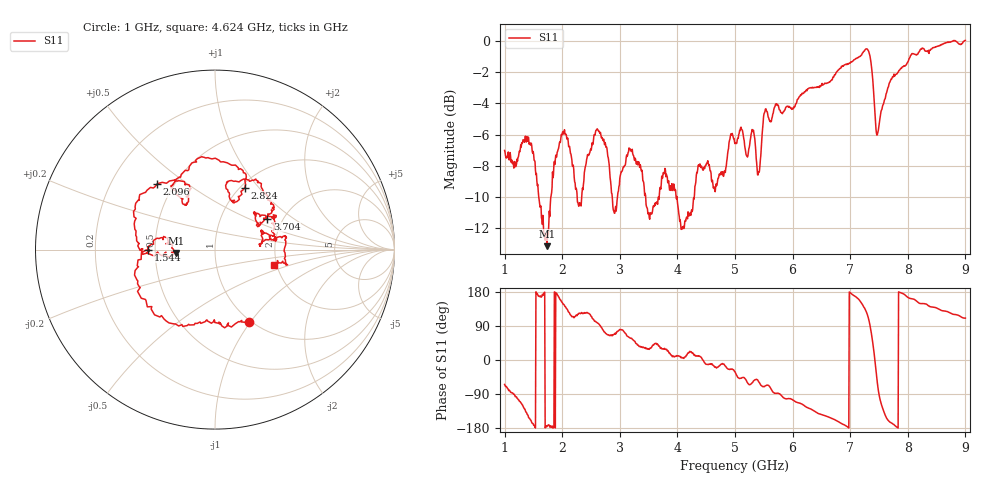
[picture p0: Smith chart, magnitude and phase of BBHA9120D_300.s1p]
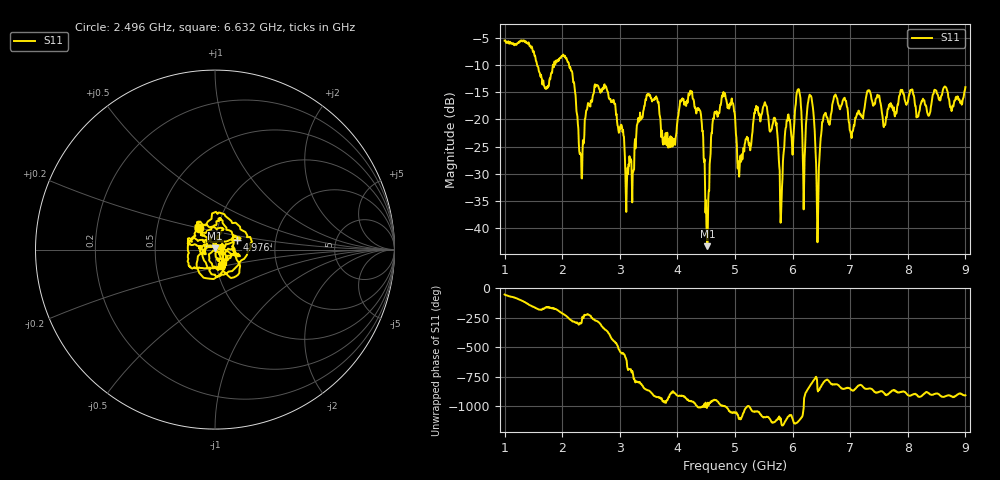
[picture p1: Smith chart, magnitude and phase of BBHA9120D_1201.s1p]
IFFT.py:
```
# -*- coding: utf-8 -*-
"""
Created on Thu Apr  2 16:42:52 2020

@author: Yevgeniy Simonov
"""
import numpy as np
import matplotlib.pyplot as plt
from skrf import Network #used for reading .snp files
from numpy.fft import ifft

if __name__ == "__main__":
    
    #paths to S-parameter data
    file_300 = 'BBHA9120D_300.s1p'
    file_1201 = 'BBHA9120D_1201.s1p'
    
    #frequencies in Hz
    S11_freq = np.squeeze(Network(file_300).frequency.f)

    #S11 parameters of Serial 300
    S11_300 = np.squeeze(Network(file_300).s)
    
    #S11 parameters of Serial 1201
    S11_1201 = np.squeeze(Network(file_1201).s)
    
    #defermine sampling frequency, assuming Nyquist Rate
    fs = 2.0 * np.amax(S11_freq)
    
    #determine the number of points in IFFT
    N = fs / (S11_freq[1] - S11_freq[0]) #2 ** 20
    
    #find the closest location, so that 2^x1 < N < 2^x2
    for i in range(1,20):
        x = 2 ** i
        if(x >= N):
            N = x
            break
    
    #compute inverse Fourier transforms of the data 
    s11_300t = ifft(S11_300, N)
    s11_1201t = ifft(S11_1201, N)
    
    #figure out what the time axis is
    dt = 1.0 / fs
    tmax = N * dt
    t = np.arange(0, tmax, dt) * 1e9 #multiply by 1e9 to convert to nanoseconds

    #plot results
    fig, a = plt.subplots(2,2,sharey=True)
    a[0][0].plot(t, s11_300t.real, color = 'blue')
    a[0][1].plot(t, s11_300t.imag, color = 'red')
    a[1][0].plot(t, s11_1201t.real, color = 'blue')
    a[1][1].plot(t, s11_1201t.imag, color = 'red')
    
    for i in range(0,2):
        for j in range(0,2):
            a[i][j].set_yscale('log')
            a[i][j].grid()
            a[i][j].set_xlabel(r'time, ns')

    a[0][0].set_title('Re(s11), 300 (faulty)', fontsize=10)
    a[0][1].set_title('Im(s11), 300 (faulty)', fontsize=10)
    a[1][0].set_title('Re(s11), 1201', fontsize=10)
    a[1][1].set_title('Im(s11), 1201', fontsize=10)
    
    a[0][0].set_ylabel(r'$\log_{10}\Re\{\mathfrak{F}^{-1}[S11]\}$')
    a[0][1].set_ylabel(r'$\log_{10}\Im\{\mathfrak{F}^{-1}[S11]\}$')
    a[1][0].set_ylabel(r'$\log_{10}\Re\{\mathfrak{F}^{-1}[S11]\}$')
    a[1][1].set_ylabel(r'$\log_{10}\Im\{\mathfrak{F}^{-1}[S11]\}$')
    
    fig.tight_layout(pad=1.0)
    plt.savefig(str(N)+'-point_IFFT.png', dpi=1000)
```
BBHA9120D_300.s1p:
!Keysight Technologies N9915A: A.08.18
!Date: Tuesday, 30 July 2019 13:40:11
!TimeZone: (GMT+08:00) Perth!Model: N9915A
!Serial: MY53102697
!GPS Latitude:
!GPS Longitude:
!GPS TimeStamp: 0001-01-01 00:00:00Z
!GPS Seconds Since Last Read: 0
!CHECKSUM:1185453533
!Correction: S11(ON U)
!S1P File: Measurement: S11:
# Hz S DB R 50
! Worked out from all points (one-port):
!   1001 points, 1 GHz to 9 GHz, reference 50 ohm
!   lowest |S11| = -13.2 dB at 1.736 GHz (marker M1), VSWR 1.56, Z = 32 - j1.22 ohm
!   |S11| at or under -10 dB: 1.593 GHz to 1.803 GHz (210.2 MHz wide, 12.4 % of centre); 3.449 GHz to 3.671 GHz (222 MHz wide, 6.24 % of centre); 3.993 GHz to 4.292 GHz (299.7 MHz wide, 7.23 % of centre)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
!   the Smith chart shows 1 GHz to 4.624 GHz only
!   S11 on the Smith chart (normalised r, x): 1 GHz: 0.98, -0.99; 1.544 GHz: 0.46, +0.00; 2.096 GHz: 0.40, +0.39; 2.824 GHz: 1.05, +0.84; 3.704 GHz: 1.66, +0.65; 4.624 GHz: 1.93, -0.36
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1e9  -7.02 -64.5
1.544e9  -8.57 179.9
1.736e9  -13.15 -175.3
2.096e9  -6.23 131.3
2.824e9  -8.38 64.3
3.672e9  -9.99 37.8
3.704e9  -9.40 30.7
4.624e9  -9.42 -14.3
6.336e9  -3.02 -130.8
7.16e9  -1.00 157.9
7.416e9  -3.82 16.9
7.512e9  -5.06 -100.2
7.752e9  -2.29 -169.8
9e9  0.03 110.5
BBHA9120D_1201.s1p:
!Keysight Technologies N9915A: A.08.18
!Date: Tuesday, 30 July 2019 13:45:48
!TimeZone: (GMT+08:00) Perth!Model: N9915A
!Serial: MY53102697
!GPS Latitude:
!GPS Longitude:
!GPS TimeStamp: 0001-01-01 00:00:00Z
!GPS Seconds Since Last Read: 0
!CHECKSUM:1875153279
!Correction: S11(ON U)
!S1P File: Measurement: S11:
# Hz S DB R 50
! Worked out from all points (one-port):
!   1001 points, 1 GHz to 9 GHz, reference 50 ohm
!   lowest |S11| = -43.3 dB at 4.52 GHz (marker M1), VSWR 1.01, Z = 50.1 + j0.677 ohm
!   |S11| at or under -10 dB: 1.565 GHz to 1.839 GHz (274.3 MHz wide, 16.1 % of centre); 1.842 GHz to 1.859 GHz (16.93 MHz wide, 0.915 % of centre); 2.12 GHz to end of sweep
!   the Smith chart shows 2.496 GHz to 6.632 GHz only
!   S11 on the Smith chart (normalised r, x): 2.496 GHz: 0.82, +0.20; 4.976 GHz: 1.27, +0.14; 6.632 GHz: 1.05, -0.19
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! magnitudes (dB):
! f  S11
! 1 GHz  -5.5
! 2.328 GHz  -26.5
! 2.496 GHz  -16.6
! 3.136 GHz  -28.9
! 3.672 GHz  -16.8
! 4.248 GHz  -14.8
! 4.52 GHz  -43.3
! 4.648 GHz  -18.6
! 4.976 GHz  -17.6
! 5.8 GHz  -37.4
! 6.336 GHz  -16.6
! 6.432 GHz  -42.6
! 6.632 GHz  -20.4
! 9 GHz  -14.1
